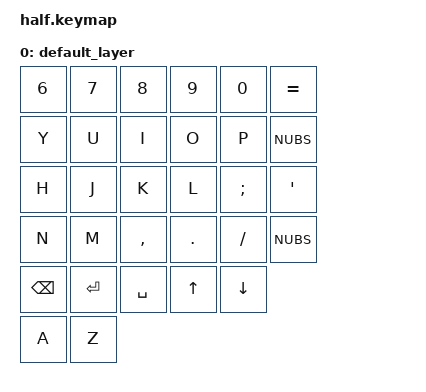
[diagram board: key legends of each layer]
#include <behaviors.dtsi>
#include <dt-bindings/zmk/keys.h>
#include <dt-bindings/zmk/bt.h>
#include <dt-bindings/zmk/outputs.h>

/ {
	keymap {
		compatible = "zmk,keymap";

		default_layer {
			
			bindings = <
				&kp N6		&kp N7		&kp N8		&kp N9		&kp N0		&kp EQUAL    
				&kp Y		&kp U		&kp I		&kp O     	&kp P     	&kp NUBS  
				&kp H    	&kp J    	&kp K    	&kp L     	&kp SEMI     	&kp SQT 
				&kp N 		&kp M 		&kp COMMA    	&kp DOT     	&kp FSLH     	&kp NUBS 
				&kp BSPC  	&kp RET   	&kp SPACE    	&kp UP 		&kp DOWN    
				&kp A  		&kp Z     
			>;

		};

	};
};

&led_strip {
	chain-length = <31>;
};
